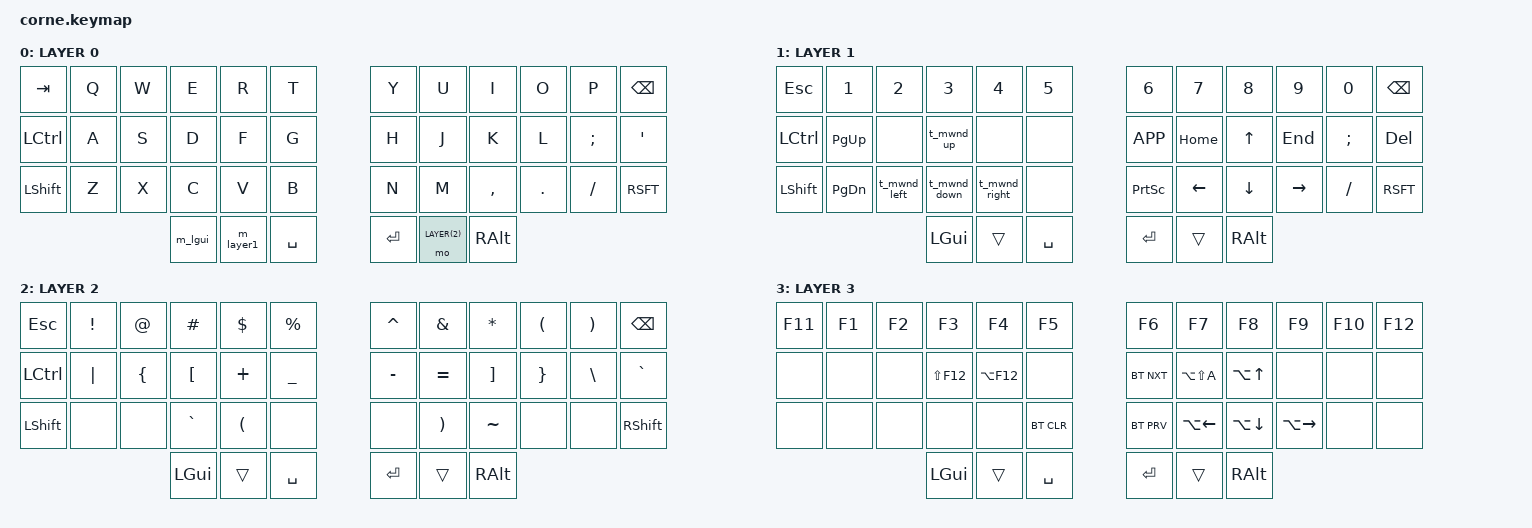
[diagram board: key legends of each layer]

#include <behaviors.dtsi>

#include <dt-bindings/zmk/keys.h>
#include <dt-bindings/zmk/bt.h>

#define LAYER(n) n
#define NO_TIMEOUT 3600000

/ {
        conditional_layers {
                compatible = "zmk,conditional-layers";
                tri_layer {
                        if-layers  = <LAYER(1) LAYER(2)>;
                        then-layer = <LAYER(3)>;
                };
        };

        behaviors {
                kt_on: kt_on {
                        compatible     = "zmk,behavior-key-toggle";
                        #binding-cells = <1>;
                        toggle-mode    = "on";
                };

                kt_off: kt_off {
                        compatible     = "zmk,behavior-key-toggle";
                        #binding-cells = <1>;
                        toggle-mode    = "off";
                };

                t_mwnd_up: t_mwnd_up {
                        compatible            = "zmk,behavior-tri-state";
                        #binding-cells        = <0>;
                        bindings              = <&kt_on LGUI>, <&kp UP>, <&kt_off LGUI>;
                        ignored-key-positions = <26 27 28>; // ignore other MWND keys
                };

                t_mwnd_left: t_mwnd_left {
                        compatible            = "zmk,behavior-tri-state";
                        #binding-cells        = <0>;
                        bindings              = <&kt_on LGUI>, <&kp LEFT>, <&kt_off LGUI>;
                        ignored-key-positions = <15 27 28>; // ignore other MWND keys
                };

                t_mwnd_down: t_mwnd_down {
                        compatible            = "zmk,behavior-tri-state";
                        #binding-cells        = <0>;
                        bindings              = <&kt_on LGUI>, <&kp DOWN>, <&kt_off LGUI>;
                        ignored-key-positions = <15 26 28>; // ignore other MWND keys
                };

                t_mwnd_right: t_mwnd_right {
                        compatible            = "zmk,behavior-tri-state";
                        #binding-cells        = <0>;
                        bindings              = <&kt_on LGUI>, <&kp RIGHT>, <&kt_off LGUI>;
                        ignored-key-positions = <15 26 27>; // ignore other MWND keys
                };

                t_alt_tab: t_alt_tab {
                        compatible            = "zmk,behavior-tri-state";
                        #binding-cells        = <0>;
                        bindings              = <&kt_on LALT>, <&kp TAB>, <&kt_off LALT>;
                        ignored-key-positions = <0 24>; // ignore TAB, SHIFT
                };
        };

        macros {
                m_layer1: m_layer1 {
                        compatible     = "zmk,behavior-macro";
                        wait-ms        = <0>;
                        tap-ms         = <0>;
                        #binding-cells = <0>;
                        bindings = <&macro_press &mo LAYER(1)>
                                 , <&macro_pause_for_release>
                                 , <&macro_release &mo LAYER(1)>
                                 , <&macro_tap &mo LAYER(1)>
                                 ;
                };

                m_lgui: m_lgui {
                        compatible     = "zmk,behavior-macro";
                        wait-ms        = <0>;
                        tap-ms         = <0>;
                        #binding-cells = <0>;
                        bindings = <&macro_press &kp LGUI>
                                 , <&macro_pause_for_release>
                                 , <&macro_release &kp LGUI>
                                 , <&macro_tap &mo LAYER(1)> // TODO: may be unnecessary
                                 ;
                };
        };

        combos {
                compatible = "zmk,combos";
                combo_alt_tab  {
                        timeout-ms    = <NO_TIMEOUT>;
                        key-positions = <0 36>; // LGUI, TAB
                        bindings      = <&t_alt_tab>;
                        layers        = <LAYER(0)>;
                };
        };

        keymap {
                compatible = "zmk,keymap";

                layer0 {
                        display-name = "LAYER 0";
                        bindings     = <
// ┌─────────────┬─────────────┬─────────────┬─────────────┬─────────────┬─────────────┐  ┌─────────────┬─────────────┬─────────────┬─────────────┬─────────────┬─────────────┐
    &kp TAB       &kp Q         &kp W         &kp E         &kp R         &kp T            &kp Y         &kp U         &kp I         &kp O         &kp P         &kp BSPC
// ├────────────0┼────────────1┼────────────2┼────────────3┼────────────4┼────────────5┤  ├────────────6┼────────────7┼────────────8┼────────────9┼───────────10┼───────────11┤
    &kp LCTRL     &kp A         &kp S         &kp D         &kp F         &kp G            &kp H         &kp J         &kp K         &kp L         &kp SEMI      &kp SQT
// ├───────────12┼───────────13┼───────────14┼───────────15┼───────────16┼───────────17┤  ├───────────18┼───────────19┼───────────20┼───────────21┼───────────22┼───────────23┤
    &kp LSHFT     &kp Z         &kp X         &kp C         &kp V         &kp B            &kp N         &kp M         &kp COMMA     &kp DOT       &kp FSLH      &kp RSFT
// └───────────24┴───────────25┴───────────26┼───────────27┼───────────28┼───────────29┤  ├───────────30┼───────────31┼───────────32┼───────────33┴───────────34┴───────────35┘
                                              &m_lgui       &m_layer1     &kp SPACE        &kp RET       &mo LAYER(2)  &kp RALT
//                                           └───────────36┴───────────37┴───────────38┘  └───────────39┴───────────40┴───────────41┘
                        >;
                };

                layer1 {
                        display-name = "LAYER 1";
                        bindings     = <
// ┌─────────────┬─────────────┬─────────────┬─────────────┬─────────────┬─────────────┐  ┌─────────────┬─────────────┬─────────────┬─────────────┬─────────────┬─────────────┐
    &kp ESC       &kp N1        &kp N2        &kp N3        &kp N4        &kp N5           &kp N6        &kp N7        &kp N8        &kp N9        &kp N0        &kp BSPC
// ├────────────0┼────────────1┼────────────2┼────────────3┼────────────4┼────────────5┤  ├────────────6┼────────────7┼────────────8┼────────────9┼───────────10┼───────────11┤
    &kp LCTRL     &kp PG_UP     &none         &t_mwnd_up    &none         &none            &kp K_APP     &kp HOME      &kp UP        &kp END       &kp SEMI      &kp DEL
// ├───────────12┼───────────13┼───────────14┼───────────15┼───────────16┼───────────17┤  ├───────────18┼───────────19┼───────────20┼───────────21┼───────────22┼───────────23┤
    &kp LSHFT     &kp PG_DN     &t_mwnd_left  &t_mwnd_down  &t_mwnd_right &none            &kp PSCRN     &kp LEFT      &kp DOWN      &kp RIGHT     &kp FSLH      &kp RSFT
// └───────────24┴───────────25┴───────────26┼───────────27┼───────────28┼───────────29┤  ├───────────30┼───────────31┼───────────32┼───────────33┴───────────34┴───────────35┘
                                              &kp LGUI      &trans        &kp SPACE        &kp RET       &trans        &kp RALT
//                                           └───────────36┴───────────37┴───────────38┘  └───────────39┴───────────40┴───────────41┘
                        >;
                };

                layer2 {
                        display-name = "LAYER 2";
                        bindings = <
// ┌─────────────┬─────────────┬─────────────┬─────────────┬─────────────┬─────────────┐  ┌─────────────┬─────────────┬─────────────┬─────────────┬─────────────┬─────────────┐
    &kp ESC       &kp EXCL      &kp AT        &kp HASH      &kp DLLR      &kp PRCNT        &kp CARET     &kp AMPS      &kp ASTRK     &kp LPAR      &kp RPAR      &kp BSPC
// ├────────────0┼────────────1┼────────────2┼────────────3┼────────────4┼────────────5┤  ├────────────6┼────────────7┼────────────8┼────────────9┼───────────10┼───────────11┤
    &kp LCTRL     &kp PIPE      &kp LBRC      &kp LBKT      &kp PLUS      &kp UNDER        &kp MINUS     &kp EQUAL     &kp RBKT      &kp RBRC      &kp BSLH      &kp GRAVE
// ├───────────12┼───────────13┼───────────14┼───────────15┼───────────16┼───────────17┤  ├───────────18┼───────────19┼───────────20┼───────────21┼───────────22┼───────────23┤
    &kp LSHFT     &none         &none         &kp GRAVE     &kp LPAR      &none            &none         &kp RPAR      &kp TILDE     &none         &none         &kp RSHFT
// └───────────24┴───────────25┴───────────26┼───────────27┼───────────28┼───────────29┤  ├───────────30┼───────────31┼───────────32┼───────────33┴───────────34┴───────────35┘
                                              &kp LGUI      &trans        &kp SPACE        &kp RET       &trans        &kp RALT
//                                           └───────────36┴───────────37┴───────────38┘  └───────────39┴───────────40┴───────────41┘
                        >;
                };

                layer3 {
                        display-name = "LAYER 3";
                        bindings = <
// ┌─────────────┬─────────────┬─────────────┬─────────────┬─────────────┬─────────────┐  ┌─────────────┬─────────────┬─────────────┬─────────────┬─────────────┬─────────────┐
    &kp F11       &kp F1        &kp F2        &kp F3        &kp F4        &kp F5           &kp F6        &kp F7        &kp F8        &kp F9        &kp F10       &kp F12
// ├────────────0┼────────────1┼────────────2┼────────────3┼────────────4┼────────────5┤  ├────────────6┼────────────7┼────────────8┼────────────9┼───────────10┼───────────11┤
    &none         &none         &none         &kp LS(F12)   &kp LA(F12)   &none            &bt BT_NXT    &kp LA(LS(A)) &kp LA(UP)    &none         &none         &none
// ├───────────12┼───────────13┼───────────14┼───────────15┼───────────16┼───────────17┤  ├───────────18┼───────────19┼───────────20┼───────────21┼───────────22┼───────────23┤
    &none         &none         &none         &none         &none         &bt BT_CLR       &bt BT_PRV    &kp LA(LEFT)  &kp LA(DOWN)  &kp LA(RIGHT) &none         &none
// └───────────24┴───────────25┴───────────26┼───────────27┼───────────28┼───────────29┤  ├───────────30┼───────────31┼───────────32┼───────────33┴───────────34┴───────────35┘
                                              &kp LGUI      &trans        &kp SPACE        &kp RET       &trans        &kp RALT
//                                           └───────────36┴───────────37┴───────────38┘  └───────────39┴───────────40┴───────────41┘
                        >;
                };
        };
};
